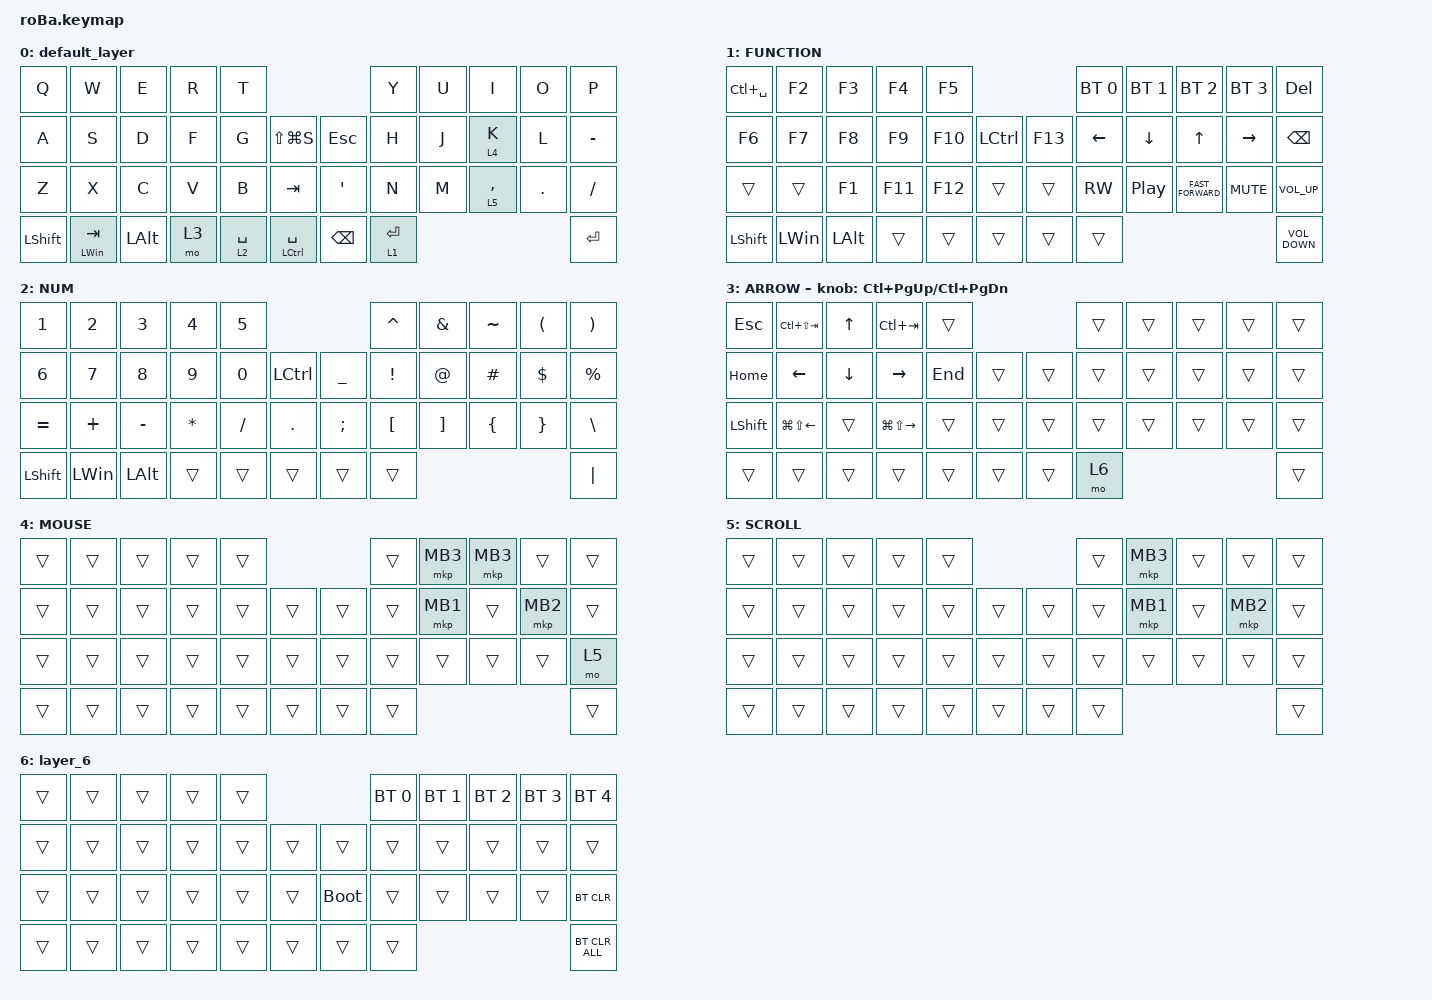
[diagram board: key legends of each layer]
#include <behaviors.dtsi>
#include <dt-bindings/zmk/bt.h>
#include <dt-bindings/zmk/keys.h>
#include <dt-bindings/zmk/pointing.h>

&mt {
    flavor = "balanced";
    quick-tap-ms = <0>;
};

&trackball {
    //automouse-layer = <4>;

    scroll-layers = <5>;

    arrows {
        layers = <3>;
        bindings =
            <&kp RIGHT_ARROW>,
            <&kp LEFT_ARROW>,
            <&kp UP_ARROW>,
            <&kp DOWN_ARROW>;

        tick = <10>;
        wait-ms = <5>;
        tap-ms = <5>;
    };
};

/ {
    combos {
        compatible = "zmk,combos";

        tab {
            bindings = <&kp TAB>;
            key-positions = <11 12>;
        };

        shift_tab {
            bindings = <&kp LS(TAB)>;
            key-positions = <12 13>;
        };

        muhennkann {
            bindings = <&to_layer_0 INT_MUHENKAN>;
            key-positions = <11 10>;
        };

        double_quotation {
            bindings = <&kp DOUBLE_QUOTES>;
            key-positions = <20 21>;
        };

        eq {
            bindings = <&kp EQUAL>;
            key-positions = <24 25>;
        };
    };

    macros {
        to_layer_0: to_layer_0 {
            compatible = "zmk,behavior-macro-one-param";
            #binding-cells = <1>;
            bindings = <&to 0 &macro_param_1to1 &kp MACRO_PLACEHOLDER>;
            label = "TO_LAYER_0";
        };
    };

    behaviors {
        lt_to_layer_0: lt_to_layer_0 {
            compatible = "zmk,behavior-hold-tap";
            label = "LAYER_TAP_TO_0";
            bindings = <&mo>, <&to_layer_0>;

            #binding-cells = <2>;
            tapping-term-ms = <200>;
        };
    };

    keymap {
        compatible = "zmk,keymap";

        default_layer {
            bindings = <
&kp Q      &kp W             &kp E         &kp R  &kp T                                             &kp Y        &kp U  &kp I        &kp O    &kp P
&kp A      &kp S             &kp D         &kp F  &kp G        &kp LS(LG(S))        &kp ESCAPE      &kp H        &kp J  &lt 4 K      &kp L    &kp MINUS
&kp Z      &kp X             &kp C         &kp V  &kp B        &kp TAB              &kp APOSTROPHE  &kp N        &kp M  &lt 5 COMMA  &kp DOT  &kp SLASH
&kp LSHFT  &mt LEFT_WIN TAB  &kp LEFT_ALT  &mo 3  &lt 2 SPACE  &mt LCTRL SPACE      &kp BACKSPACE   &lt 1 ENTER                               &kp ENTER
            >;
        };

        FUNCTION {
            bindings = <
&kp LC(SPACE)  &kp F2    &kp F3    &kp F4   &kp F5                           &bt BT_SEL 0  &bt BT_SEL 1      &bt BT_SEL 2        &bt BT_SEL 3  &kp DEL
&kp F6         &kp F7    &kp F8    &kp F9   &kp F10  &kp LCTRL      &kp F13  &kp LEFT      &kp DOWN          &kp UP_ARROW        &kp RIGHT     &kp BACKSPACE
&trans         &trans    &kp F1    &kp F11  &kp F12  &trans         &trans   &kp C_RW      &kp C_PLAY_PAUSE  &kp C_FAST_FORWARD  &kp C_MUTE    &kp C_VOLUME_UP
&kp LSHFT      &kp LWIN  &kp LALT  &trans   &trans   &trans         &trans   &trans                                                            &kp C_VOLUME_DOWN
            >;
        };

        NUM {
            bindings = <
&kp NUMBER_1  &kp NUMBER_2  &kp NUMBER_3  &kp NUMBER_4  &kp N5                                    &kp CARET         &kp AMPERSAND      &kp TILDE       &kp LEFT_PARENTHESIS  &kp RIGHT_PARENTHESIS
&kp NUMBER_6  &kp N7        &kp N8        &kp N9        &kp N0     &kp LCTRL      &kp UNDERSCORE  &kp EXCLAMATION   &kp AT_SIGN        &kp HASH        &kp DOLLAR            &kp PERCENT
&kp EQUAL     &kp PLUS      &kp MINUS     &kp ASTRK     &kp SLASH  &kp DOT        &kp SEMI        &kp LEFT_BRACKET  &kp RIGHT_BRACKET  &kp LEFT_BRACE  &kp RIGHT_BRACE       &kp BACKSLASH
&kp LSHFT     &kp LWIN      &kp LALT      &trans        &trans     &trans         &trans          &trans                                                                     &kp PIPE
            >;
        };

        ARROW {
            bindings = <
&kp ESCAPE      &kp LC(LS(TAB))         &kp UP_ARROW    &kp LC(TAB)              &trans                       &trans  &trans  &trans  &trans  &trans
&kp HOME        &kp LEFT_ARROW          &kp DOWN_ARROW  &kp RIGHT_ARROW          &kp END  &trans      &trans  &trans  &trans  &trans  &trans  &trans
&kp LEFT_SHIFT  &kp LG(LS(LEFT_ARROW))  &trans          &kp LG(LS(RIGHT_ARROW))  &trans   &trans      &trans  &trans  &trans  &trans  &trans  &trans
&trans          &trans                  &trans          &trans                   &trans   &trans      &trans  &mo 6                           &trans
            >;

            sensor-bindings = <&inc_dec_kp LC(PAGE_UP) LC(PAGE_DOWN)>;
        };

        MOUSE {
            bindings = <
&trans  &trans  &trans  &trans  &trans                      &trans  &mkp MB3  &mkp MB3  &trans    &trans
&trans  &trans  &trans  &trans  &trans  &trans      &trans  &trans  &mkp MB1  &trans    &mkp MB2  &trans
&trans  &trans  &trans  &trans  &trans  &trans      &trans  &trans  &trans    &trans    &trans    &mo 5
&trans  &trans  &trans  &trans  &trans  &trans      &trans  &trans                                &trans
            >;
        };

        SCROLL {
            bindings = <
&trans  &trans  &trans  &trans  &trans                      &trans  &mkp MB3  &trans  &trans    &trans
&trans  &trans  &trans  &trans  &trans  &trans      &trans  &trans  &mkp MB1  &trans  &mkp MB2  &trans
&trans  &trans  &trans  &trans  &trans  &trans      &trans  &trans  &trans    &trans  &trans    &trans
&trans  &trans  &trans  &trans  &trans  &trans      &trans  &trans                              &trans
            >;
        };

        layer_6 {
            bindings = <
&trans  &trans  &trans  &trans  &trans                           &bt BT_SEL 0  &bt BT_SEL 1  &bt BT_SEL 2  &bt BT_SEL 3  &bt BT_SEL 4
&trans  &trans  &trans  &trans  &trans  &trans      &trans       &trans        &trans        &trans        &trans        &trans
&trans  &trans  &trans  &trans  &trans  &trans      &bootloader  &trans        &trans        &trans        &trans        &bt BT_CLR
&trans  &trans  &trans  &trans  &trans  &trans      &trans       &trans                                                  &bt BT_CLR_ALL
            >;
        };
    };
};
